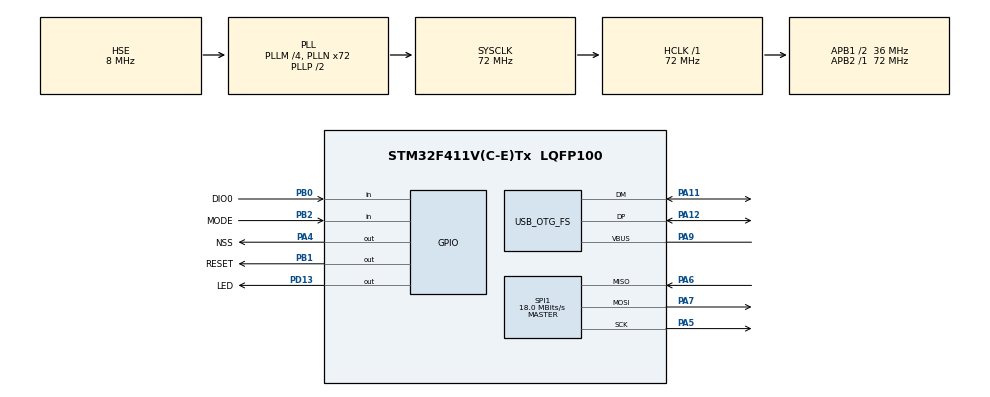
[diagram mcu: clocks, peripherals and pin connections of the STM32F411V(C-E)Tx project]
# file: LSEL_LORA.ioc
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Mcu.Family=STM32F4
Mcu.Name=STM32F411V(C-E)Tx
Mcu.Package=LQFP100
NVIC.OTG_FS_IRQn=true\:0\:0\:false\:false\:true\:false\:true
NVIC.PriorityGroup=NVIC_PRIORITYGROUP_0
PA11.Mode=Device_Only
PA11.Signal=USB_OTG_FS_DM
PA12.Mode=Device_Only
PA12.Signal=USB_OTG_FS_DP
PA13.Mode=Trace_Asynchronous_SW
PA13.Signal=SYS_JTMS-SWDIO
PA14.Mode=Trace_Asynchronous_SW
PA14.Signal=SYS_JTCK-SWCLK
PA4.GPIO_Label=NSS
PA4.GPIO_PuPd=GPIO_NOPULL
PA4.PinState=GPIO_PIN_SET
PA4.Signal=GPIO_Output
PA5.GPIO_Speed=GPIO_SPEED_FREQ_HIGH
PA5.Mode=Full_Duplex_Master
PA5.Signal=SPI1_SCK
PA6.GPIO_PuPd=GPIO_NOPULL
PA6.GPIO_Speed=GPIO_SPEED_FREQ_HIGH
PA6.Mode=Full_Duplex_Master
PA6.Signal=SPI1_MISO
PA7.GPIO_Speed=GPIO_SPEED_FREQ_HIGH
PA7.Mode=Full_Duplex_Master
PA7.Signal=SPI1_MOSI
PA9.Mode=Activate_VBUS
PA9.Signal=USB_OTG_FS_VBUS
PB0.GPIO_Label=DIO0
PB0.Signal=GPIO_Input
PB1.GPIO_Label=RESET
PB1.PinState=GPIO_PIN_SET
PB1.Signal=GPIO_Output
PB2.GPIO_Label=MODE
PB2.Signal=GPIO_Input
PB3.Mode=Trace_Asynchronous_SW
PB3.Signal=SYS_JTDO-SWO
PD13.GPIO_Label=LED
PD13.PinState=GPIO_PIN_SET
PD13.Signal=GPIO_Output
PH0\ -\ OSC_IN.Mode=HSE-External-Oscillator
PH0\ -\ OSC_IN.Signal=RCC_OSC_IN
PH1\ -\ OSC_OUT.Mode=HSE-External-Oscillator
PH1\ -\ OSC_OUT.Signal=RCC_OSC_OUT
ProjectManager.HeapSize=0x200
ProjectManager.StackSize=0x400
ProjectManager.TargetToolchain=STM32CubeIDE
RCC.48MHZClocksFreq_Value=48000000
RCC.AHBFreq_Value=72000000
RCC.APB1CLKDivider=RCC_HCLK_DIV2
RCC.APB1Freq_Value=36000000
RCC.APB1TimFreq_Value=72000000
RCC.APB2Freq_Value=72000000
RCC.APB2TimFreq_Value=72000000
RCC.CortexFreq_Value=72000000
RCC.HCLKFreq_Value=72000000
RCC.HSE_VALUE=8000000
RCC.HSI_VALUE=16000000
RCC.LSE_VALUE=32768
RCC.PLLI2SM=5
RCC.PLLI2SN=200
RCC.PLLM=4
RCC.PLLN=72
RCC.PLLQ=3
RCC.SYSCLKFreq_VALUE=72000000
RCC.SYSCLKSource=RCC_SYSCLKSOURCE_PLLCLK
RCC.VCOOutputFreq_Value=144000000
SPI1.BaudRatePrescaler=SPI_BAUDRATEPRESCALER_4
SPI1.CalculateBaudRate=18.0 MBits/s
SPI1.Direction=SPI_DIRECTION_2LINES
SPI1.Mode=SPI_MODE_MASTER
SPI1.VirtualType=VM_MASTER
USB_DEVICE.CLASS_NAME_FS=CDC
USB_DEVICE.VirtualMode=Cdc
USB_DEVICE.VirtualModeFS=Cdc_FS
USB_OTG_FS.VirtualMode=Device_Only
VP_USB_DEVICE_VS_USB_DEVICE_CDC_FS.Mode=CDC_FS
board=STM32F411E-DISCO

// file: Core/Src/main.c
/* USER CODE BEGIN Header */
/**
  ******************************************************************************
  * @file           : main.c
  * @brief          : Main program body
  ******************************************************************************
  * @attention
  *
  * <h2><center>&copy; Copyright (c) 2020 STMicroelectronics.
  * All rights reserved.</center></h2>
  *
  * This software component is licensed by ST under BSD 3-Clause license,
  * the "License"; You may not use this file except in compliance with the
  * License. You may obtain a copy of the License at:
  *                        opensource.org/licenses/BSD-3-Clause
  *
  ******************************************************************************
  */
/* USER CODE END Header */

#include "main.h"
#include "spi.h"
#include "usb_device.h"
#include "gpio.h"

/* USER CODE BEGIN Includes */
#include "usbd_cdc_if.h"
#include <string.h>
#include "stdio.h"
#include "SX1278.h"
/* USER CODE END Includes */

/* USER CODE BEGIN PV */
SX1278_hw_t SX1278_hw;
SX1278_t SX1278;

int master=0;

/* USER CODE END PV */

void SystemClock_Config(void);
/* USER CODE BEGIN PFP */
void Lora_inicio(int init);
void Lora_recibe(void);
void Lora_envia(sensor_buf_t prueba);
/* USER CODE END PFP */

int main(void)
{
  /* USER CODE BEGIN 1 */
	sensor_buf_t prueba;

  /* USER CODE END 1 */

  /* MCU Configuration--------------------------------------------------------*/

  /* Reset of all peripherals, Initializes the Flash interface and the Systick. */
  HAL_Init();

  /* Configure the system clock */
  SystemClock_Config();

  /* Initialize all configured peripherals */
  MX_GPIO_Init();
  MX_SPI1_Init();
  MX_USB_DEVICE_Init();
  /* USER CODE BEGIN 2 */

  Lora_inicio(master);  //0 es esclavo, 1 es maestro

  prueba.ID = 1;
  prueba.measure = 100;
  prueba.alarm = 0;
  prueba.error = 0;
  prueba.threshold_L = 80;
  prueba.threshold_H = 120;

  HAL_Delay(1000);

  /* USER CODE END 2 */

  /* Infinite loop */
  while (1)
  {

    /* USER CODE BEGIN 3 */
	if (master == 1) {
		Lora_envia(prueba);
		HAL_Delay(1000);
	} else {
		Lora_recibe();
	}
	  HAL_Delay(1000);
  }
  /* USER CODE END 3 */
}

void SystemClock_Config(void)
{
  RCC_OscInitTypeDef RCC_OscInitStruct = {0};
  RCC_ClkInitTypeDef RCC_ClkInitStruct = {0};

  /** Configure the main internal regulator output voltage
  */
  __HAL_RCC_PWR_CLK_ENABLE();
  __HAL_PWR_VOLTAGESCALING_CONFIG(PWR_REGULATOR_VOLTAGE_SCALE1);
  /** Initializes the CPU, AHB and APB busses clocks
  */
  RCC_OscInitStruct.OscillatorType = RCC_OSCILLATORTYPE_HSE;
  RCC_OscInitStruct.HSEState = RCC_HSE_ON;
  RCC_OscInitStruct.PLL.PLLState = RCC_PLL_ON;
  RCC_OscInitStruct.PLL.PLLSource = RCC_PLLSOURCE_HSE;
  RCC_OscInitStruct.PLL.PLLM = 4;
  RCC_OscInitStruct.PLL.PLLN = 72;
  RCC_OscInitStruct.PLL.PLLP = RCC_PLLP_DIV2;
  RCC_OscInitStruct.PLL.PLLQ = 3;
  if (HAL_RCC_OscConfig(&RCC_OscInitStruct) != HAL_OK)
  {
    Error_Handler();
  }
  /** Initializes the CPU, AHB and APB busses clocks
  */
  RCC_ClkInitStruct.ClockType = RCC_CLOCKTYPE_HCLK|RCC_CLOCKTYPE_SYSCLK
                              |RCC_CLOCKTYPE_PCLK1|RCC_CLOCKTYPE_PCLK2;
  RCC_ClkInitStruct.SYSCLKSource = RCC_SYSCLKSOURCE_PLLCLK;
  RCC_ClkInitStruct.AHBCLKDivider = RCC_SYSCLK_DIV1;
  RCC_ClkInitStruct.APB1CLKDivider = RCC_HCLK_DIV2;
  RCC_ClkInitStruct.APB2CLKDivider = RCC_HCLK_DIV1;

  if (HAL_RCC_ClockConfig(&RCC_ClkInitStruct, FLASH_LATENCY_2) != HAL_OK)
  {
    Error_Handler();
  }
}

/* USER CODE BEGIN 4 */
int _write(int file, char *ptr, int len) {
	int i;
	for (i = 0; i < len; i++) {
		ITM_SendChar(*ptr++);
	}
	return len;
}

void Lora_inicio(int init){
	int ret;
	//initialize LoRa module
	SX1278_hw.dio0.port = DIO0_GPIO_Port;
	SX1278_hw.dio0.pin = DIO0_Pin;
	SX1278_hw.nss.port = NSS_GPIO_Port;
	SX1278_hw.nss.pin = NSS_Pin;
	SX1278_hw.reset.port = RESET_GPIO_Port;
	SX1278_hw.reset.pin = RESET_Pin;
	SX1278_hw.spi = &hspi1;
	SX1278.readBytes=0;
	SX1278.rxBuffer[0]=0;
	SX1278.hw = &SX1278_hw;

	printf("Configuring LoRa module\r\n");
	SX1278_begin(&SX1278, SX1278_433MHZ, SX1278_POWER_17DBM, SX1278_LORA_SF_8,
			SX1278_LORA_BW_20_8KHZ, 10);
	printf("Done configuring LoRaModule\r\n");
	while (ret!=1){
		if (init == 1) {
			ret = SX1278_LoRaEntryTx(&SX1278, 16, 2000);
		} else {
			ret = SX1278_LoRaEntryRx(&SX1278, 16, 2000); //tiene que valer 1
		}
		printf("ret: %d\n", ret);
	}
}
void Lora_recibe(void){
	int ret;
	char buffer[64];
	uint8_t len = 0;

	ret = SX1278_LoRaRxPacket(&SX1278);
	if (ret > 0) {
		HAL_GPIO_TogglePin(LED_GPIO_Port, LED_Pin);
		SX1278_read(&SX1278, (uint8_t *) buffer, ret);
		printf("Content (%d): %s\r\n", ret, buffer);

		//SEND THROGH USB
		len = strlen((char*) buffer);
		CDC_Transmit_FS(buffer, len);
	}
}
void Lora_envia(sensor_buf_t prueba){
	int ret;
	char buffer[64];
	int message_length;
	HAL_GPIO_TogglePin(LED_GPIO_Port, LED_Pin);
	message_length = sprintf(buffer, "AquaSmart %d %d %d %d %d %d", prueba.ID, prueba.measure, prueba.alarm, prueba.error, prueba.threshold_L, prueba.threshold_H);
	ret = SX1278_LoRaEntryTx(&SX1278, message_length, 2000);
	printf("Sending %s\r\n", buffer);
	ret = SX1278_LoRaTxPacket(&SX1278, (uint8_t *) buffer, message_length, 2000);
}
/* USER CODE END 4 */

void Error_Handler(void)
{
}

/************************ (C) COPYRIGHT STMicroelectronics *****END OF FILE****/
